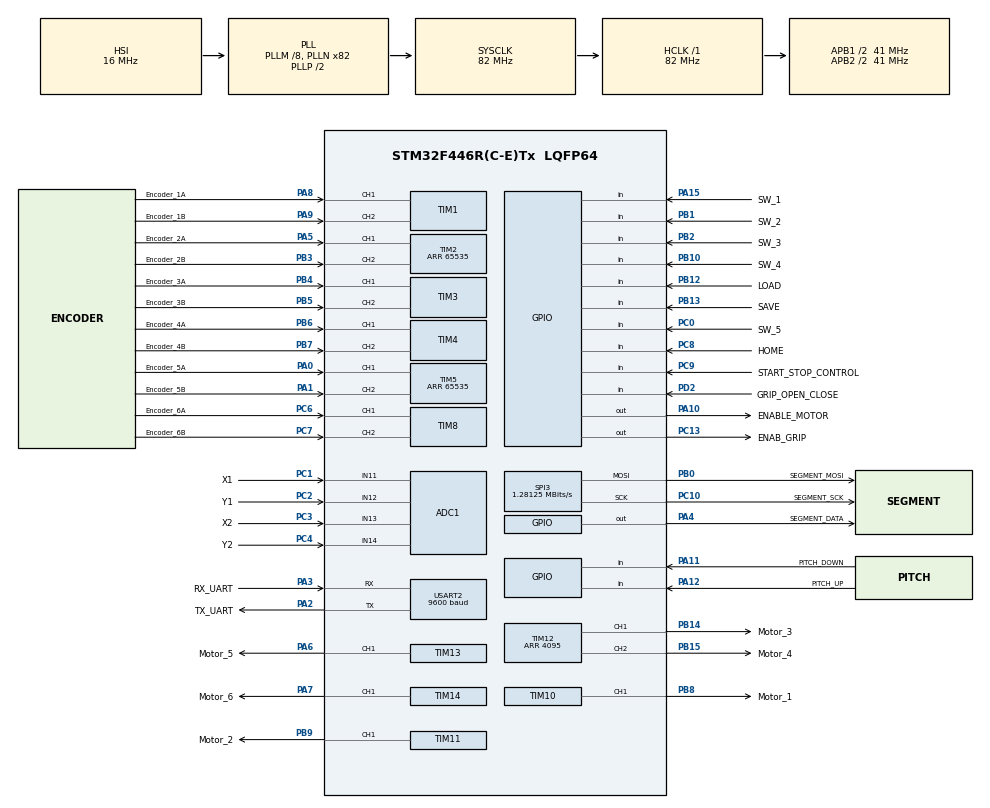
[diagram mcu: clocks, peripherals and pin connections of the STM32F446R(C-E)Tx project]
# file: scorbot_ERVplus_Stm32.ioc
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ADC1.Channel-0\#ChannelRegularConversion=ADC_CHANNEL_11
ADC1.Channel-1\#ChannelRegularConversion=ADC_CHANNEL_12
ADC1.Channel-2\#ChannelRegularConversion=ADC_CHANNEL_14
ADC1.Channel-3\#ChannelRegularConversion=ADC_CHANNEL_13
ADC1.ContinuousConvMode=ENABLE
ADC1.DMAContinuousRequests=ENABLE
ADC1.NbrOfConversion=4
ADC1.NbrOfConversionFlag=1
ADC1.Rank-0\#ChannelRegularConversion=1
ADC1.Rank-1\#ChannelRegularConversion=2
ADC1.Rank-2\#ChannelRegularConversion=3
ADC1.Rank-3\#ChannelRegularConversion=4
ADC1.SamplingTime-0\#ChannelRegularConversion=ADC_SAMPLETIME_84CYCLES
ADC1.SamplingTime-1\#ChannelRegularConversion=ADC_SAMPLETIME_84CYCLES
ADC1.SamplingTime-2\#ChannelRegularConversion=ADC_SAMPLETIME_84CYCLES
ADC1.SamplingTime-3\#ChannelRegularConversion=ADC_SAMPLETIME_84CYCLES
ADC1.ScanConvMode=ENABLE
ADC1.master=1
Dma.ADC1.0.Direction=DMA_PERIPH_TO_MEMORY
Dma.ADC1.0.FIFOMode=DMA_FIFOMODE_DISABLE
Dma.ADC1.0.Instance=DMA2_Stream0
Dma.ADC1.0.MemDataAlignment=DMA_MDATAALIGN_WORD
Dma.ADC1.0.MemInc=DMA_MINC_ENABLE
Dma.ADC1.0.Mode=DMA_CIRCULAR
Dma.ADC1.0.PeriphDataAlignment=DMA_PDATAALIGN_WORD
Dma.ADC1.0.PeriphInc=DMA_PINC_DISABLE
Dma.ADC1.0.Priority=DMA_PRIORITY_LOW
Dma.Request0=ADC1
Dma.Request1=USART2_RX
Dma.Request2=USART2_TX
Dma.USART2_RX.1.Direction=DMA_PERIPH_TO_MEMORY
Dma.USART2_RX.1.FIFOMode=DMA_FIFOMODE_DISABLE
Dma.USART2_RX.1.Instance=DMA1_Stream5
Dma.USART2_RX.1.MemDataAlignment=DMA_MDATAALIGN_BYTE
Dma.USART2_RX.1.MemInc=DMA_MINC_ENABLE
Dma.USART2_RX.1.Mode=DMA_CIRCULAR
Dma.USART2_RX.1.PeriphDataAlignment=DMA_PDATAALIGN_BYTE
Dma.USART2_RX.1.PeriphInc=DMA_PINC_DISABLE
Dma.USART2_RX.1.Priority=DMA_PRIORITY_LOW
Dma.USART2_TX.2.Direction=DMA_MEMORY_TO_PERIPH
Dma.USART2_TX.2.FIFOMode=DMA_FIFOMODE_DISABLE
Dma.USART2_TX.2.Instance=DMA1_Stream6
Dma.USART2_TX.2.MemDataAlignment=DMA_MDATAALIGN_BYTE
Dma.USART2_TX.2.MemInc=DMA_MINC_ENABLE
Dma.USART2_TX.2.Mode=DMA_NORMAL
Dma.USART2_TX.2.PeriphDataAlignment=DMA_PDATAALIGN_BYTE
Dma.USART2_TX.2.PeriphInc=DMA_PINC_DISABLE
Dma.USART2_TX.2.Priority=DMA_PRIORITY_LOW
Mcu.Family=STM32F4
Mcu.Name=STM32F446R(C-E)Tx
Mcu.Package=LQFP64
NVIC.DMA1_Stream5_IRQn=true\:0\:0\:false\:false\:true\:false\:true
NVIC.DMA1_Stream6_IRQn=true\:0\:0\:false\:false\:true\:false\:true
NVIC.DMA2_Stream0_IRQn=true\:0\:0\:false\:false\:true\:false\:true
NVIC.PriorityGroup=NVIC_PRIORITYGROUP_0
NVIC.USART2_IRQn=true\:0\:0\:false\:false\:true\:true\:true
PA0-WKUP.GPIO_Label=Encoder_5A
PA0-WKUP.GPIO_PuPd=GPIO_PULLDOWN
PA0-WKUP.Signal=S_TIM5_CH1
PA1.GPIO_Label=Encoder_5B
PA1.GPIO_PuPd=GPIO_PULLDOWN
PA1.Signal=S_TIM5_CH2
PA10.GPIO_Label=ENABLE_MOTOR
PA10.GPIO_ModeDefaultOutputPP=GPIO_MODE_OUTPUT_PP
PA10.GPIO_PuPd=GPIO_PULLUP
PA10.Signal=GPIO_Output
PA11.GPIO_Label=PITCH_DOWN
PA11.GPIO_PuPd=GPIO_PULLDOWN
PA11.Signal=GPIO_Input
PA12.GPIO_Label=PITCH_UP
PA12.GPIO_PuPd=GPIO_PULLDOWN
PA12.Signal=GPIO_Input
PA13.GPIO_Label=SWDIO
PA13.Mode=Serial_Wire
PA13.Signal=SYS_JTMS-SWDIO
PA14.GPIO_Label=SWCLK
PA14.Mode=Serial_Wire
PA14.Signal=SYS_JTCK-SWCLK
PA15.GPIO_Label=SW_1
PA15.GPIO_PuPd=GPIO_PULLUP
PA15.Signal=GPIO_Input
PA2.GPIO_Label=TX_UART
PA2.Mode=Asynchronous
PA2.Signal=USART2_TX
PA3.GPIO_Label=RX_UART
PA3.Mode=Asynchronous
PA3.Signal=USART2_RX
PA4.GPIO_Label=SEGMENT_DATA
PA4.Signal=GPIO_Output
PA5.GPIO_Label=Encoder_2A
PA5.GPIO_PuPd=GPIO_PULLDOWN
PA5.Signal=S_TIM2_CH1_ETR
PA6.GPIO_Label=Motor_5
PA6.Signal=S_TIM13_CH1
PA7.GPIO_Label=Motor_6
PA7.Signal=S_TIM14_CH1
PA8.GPIO_Label=Encoder_1A
PA8.GPIO_PuPd=GPIO_PULLDOWN
PA8.Signal=S_TIM1_CH1
PA9.GPIO_Label=Encoder_1B
PA9.GPIO_PuPd=GPIO_PULLDOWN
PA9.Signal=S_TIM1_CH2
PB0.GPIO_Label=SEGMENT_MOSI
PB0.Mode=TX_Only_Simplex_Unidirect_Master
PB0.Signal=SPI3_MOSI
PB1.GPIO_Label=SW_2
PB1.GPIO_PuPd=GPIO_PULLUP
PB1.Signal=GPIO_Input
PB10.GPIO_Label=SW_4
PB10.GPIO_PuPd=GPIO_PULLUP
PB10.Signal=GPIO_Input
PB12.GPIO_Label=LOAD
PB12.GPIO_PuPd=GPIO_PULLDOWN
PB12.Signal=GPIO_Input
PB13.GPIO_Label=SAVE
PB13.GPIO_PuPd=GPIO_PULLDOWN
PB13.Signal=GPIO_Input
PB14.GPIO_Label=Motor_3
PB14.Signal=S_TIM12_CH1
PB15.GPIO_Label=Motor_4
PB15.Signal=S_TIM12_CH2
PB2.GPIO_Label=SW_3
PB2.GPIO_PuPd=GPIO_PULLUP
PB2.Signal=GPIO_Input
PB3.GPIO_Label=Encoder_2B
PB3.GPIO_PuPd=GPIO_PULLDOWN
PB3.Signal=S_TIM2_CH2
PB4.GPIO_Label=Encoder_3A
PB4.GPIO_PuPd=GPIO_PULLDOWN
PB4.Signal=S_TIM3_CH1
PB5.GPIO_Label=Encoder_3B
PB5.GPIO_PuPd=GPIO_PULLDOWN
PB5.Signal=S_TIM3_CH2
PB6.GPIO_Label=Encoder_4A
PB6.GPIO_PuPd=GPIO_PULLDOWN
PB6.Signal=S_TIM4_CH1
PB7.GPIO_Label=Encoder_4B
PB7.GPIO_PuPd=GPIO_PULLDOWN
PB7.Signal=S_TIM4_CH2
PB8.GPIO_Label=Motor_1
PB8.Signal=S_TIM10_CH1
PB9.GPIO_Label=Motor_2
PB9.Signal=S_TIM11_CH1
PC0.GPIO_Label=SW_5
PC0.GPIO_PuPd=GPIO_PULLUP
PC0.Signal=GPIO_Input
PC1.GPIO_Label=X1
PC1.Signal=ADCx_IN11
PC10.GPIO_Label=SEGMENT_SCK
PC10.Mode=TX_Only_Simplex_Unidirect_Master
PC10.Signal=SPI3_SCK
PC13.GPIO_Label=ENAB_GRIP
PC13.GPIO_PuPd=GPIO_PULLUP
PC13.Signal=GPIO_Output
PC14-OSC32_IN.Mode=LSE-External-Oscillator
PC14-OSC32_IN.Signal=RCC_OSC32_IN
PC15-OSC32_OUT.Mode=LSE-External-Oscillator
PC15-OSC32_OUT.Signal=RCC_OSC32_OUT
PC2.GPIO_Label=Y1
PC2.Signal=ADCx_IN12
PC3.GPIO_Label=X2
PC3.Signal=ADCx_IN13
PC4.GPIO_Label=Y2
PC4.Signal=ADCx_IN14
PC6.GPIO_Label=Encoder_6A
PC6.Signal=S_TIM8_CH1
PC7.GPIO_Label=Encoder_6B
PC7.Signal=S_TIM8_CH2
PC8.GPIO_Label=HOME
PC8.GPIO_PuPd=GPIO_PULLDOWN
PC8.Signal=GPIO_Input
PC9.GPIO_Label=START_STOP_CONTROL
PC9.GPIO_PuPd=GPIO_PULLDOWN
PC9.Signal=GPIO_Input
PD2.GPIO_Label=GRIP_OPEN_CLOSE
PD2.GPIO_PuPd=GPIO_PULLDOWN
PD2.Signal=GPIO_Input
PH0-OSC_IN.Mode=HSE-External-Oscillator
PH0-OSC_IN.Signal=RCC_OSC_IN
PH1-OSC_OUT.Mode=HSE-External-Oscillator
PH1-OSC_OUT.Signal=RCC_OSC_OUT
ProjectManager.HeapSize=0x200
ProjectManager.StackSize=0x400
ProjectManager.TargetToolchain=STM32CubeIDE
RCC.48MHZClocksFreq_Value=84000000
RCC.AHBFreq_Value=82000000
RCC.APB1CLKDivider=RCC_HCLK_DIV2
RCC.APB1Freq_Value=41000000
RCC.APB1TimFreq_Value=82000000
RCC.APB2CLKDivider=RCC_HCLK_DIV2
RCC.APB2Freq_Value=41000000
RCC.APB2TimFreq_Value=82000000
RCC.CortexFreq_Value=82000000
RCC.FLatency-AdvancedSettings=FLASH_LATENCY_2
RCC.HCLKFreq_Value=82000000
RCC.HSE_VALUE=8000000
RCC.HSI_VALUE=16000000
RCC.PLLM=8
RCC.PLLN=82
RCC.SYSCLKFreq_VALUE=82000000
RCC.SYSCLKSource=RCC_SYSCLKSOURCE_PLLCLK
RCC.USBFreq_Value=82000000
RCC.VCOOutputFreq_Value=164000000
SH.ADCx_IN11.0=ADC1_IN11,IN11
SH.ADCx_IN12.0=ADC1_IN12,IN12
SH.ADCx_IN13.0=ADC1_IN13,IN13
SH.ADCx_IN14.0=ADC1_IN14,IN14
SH.S_TIM10_CH1.0=TIM10_CH1,PWM Generation1 CH1
SH.S_TIM11_CH1.0=TIM11_CH1,PWM Generation1 CH1
SH.S_TIM12_CH1.0=TIM12_CH1,PWM Generation1 CH1
SH.S_TIM12_CH2.0=TIM12_CH2,PWM Generation2 CH2
SH.S_TIM13_CH1.0=TIM13_CH1,PWM Generation1 CH1
SH.S_TIM14_CH1.0=TIM14_CH1,PWM Generation1 CH1
SH.S_TIM1_CH1.0=TIM1_CH1,Encoder_Interface
SH.S_TIM1_CH2.0=TIM1_CH2,Encoder_Interface
SH.S_TIM2_CH1_ETR.0=TIM2_CH1,Encoder_Interface
SH.S_TIM2_CH2.0=TIM2_CH2,Encoder_Interface
SH.S_TIM3_CH1.0=TIM3_CH1,Encoder_Interface
SH.S_TIM3_CH2.0=TIM3_CH2,Encoder_Interface
SH.S_TIM4_CH1.0=TIM4_CH1,Encoder_Interface
SH.S_TIM4_CH2.0=TIM4_CH2,Encoder_Interface
SH.S_TIM5_CH1.0=TIM5_CH1,Encoder_Interface
SH.S_TIM5_CH2.0=TIM5_CH2,Encoder_Interface
SH.S_TIM8_CH1.0=TIM8_CH1,Encoder_Interface
SH.S_TIM8_CH2.0=TIM8_CH2,Encoder_Interface
SPI3.BaudRatePrescaler=SPI_BAUDRATEPRESCALER_32
SPI3.CalculateBaudRate=1.28125 MBits/s
SPI3.DataSize=SPI_DATASIZE_8BIT
SPI3.Direction=SPI_DIRECTION_2LINES
SPI3.Mode=SPI_MODE_MASTER
SPI3.VirtualType=VM_MASTER
TIM1.EncoderMode=TIM_ENCODERMODE_TI12
TIM1.IC1Filter=10
TIM1.IC2Filter=10
TIM10.Channel=TIM_CHANNEL_1
TIM10.Period=4095
TIM10.Pulse=2047
TIM11.Channel=TIM_CHANNEL_1
TIM11.Period=4095
TIM11.Pulse=2047
TIM12.Channel-PWM\ Generation1\ CH1=TIM_CHANNEL_1
TIM12.Channel-PWM\ Generation2\ CH2=TIM_CHANNEL_2
TIM12.Period=4095
TIM12.Pulse-PWM\ Generation1\ CH1=2047
TIM12.Pulse-PWM\ Generation2\ CH2=2047
TIM13.Channel=TIM_CHANNEL_1
TIM13.Period=4095
TIM13.Pulse=2047
TIM14.Channel=TIM_CHANNEL_1
TIM14.Period=4095
TIM14.Pulse=2047
TIM2.EncoderMode=TIM_ENCODERMODE_TI12
TIM2.IC1Filter=10
TIM2.IC2Filter=10
TIM2.Period=65535
TIM3.EncoderMode=TIM_ENCODERMODE_TI12
TIM3.IC1Filter=10
TIM3.IC2Filter=10
TIM4.EncoderMode=TIM_ENCODERMODE_TI12
TIM4.IC1Filter=10
TIM4.IC2Filter=10
TIM5.EncoderMode=TIM_ENCODERMODE_TI12
TIM5.IC1Filter=10
TIM5.IC2Filter=10
TIM5.Period=65535
TIM8.EncoderMode=TIM_ENCODERMODE_TI12
TIM8.IC1Filter=10
TIM8.IC2Filter=10
USART2.BaudRate=9600
USART2.VirtualMode=VM_ASYNC
VP_TIM10_VS_ClockSourceINT.Mode=Enable_Timer
VP_TIM11_VS_ClockSourceINT.Mode=Enable_Timer
VP_TIM13_VS_ClockSourceINT.Mode=Enable_Timer
VP_TIM14_VS_ClockSourceINT.Mode=Enable_Timer
board=NUCLEO-F446RE

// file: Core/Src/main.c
/* USER CODE BEGIN Header */
/**
 ******************************************************************************
 * @file           : main.c
 * @brief          : Main program body
 ******************************************************************************
 * @attention
 *
 * <h2><center>&copy; Copyright (c) 2021 STMicroelectronics.
 * All rights reserved.</center></h2>
 *
 * This software component is licensed by ST under BSD 3-Clause license,
 * the "License"; You may not use this file except in compliance with the
 * License. You may obtain a copy of the License at:
 *                        opensource.org/licenses/BSD-3-Clause
 *
 ******************************************************************************
 */
/* USER CODE END Header */
#include "main.h"

/* USER CODE BEGIN PTD */
#ifdef __GNUC__
/* With GCC, small printf (option LD Linker->Libraries->Small printf
 set to 'Yes') calls __io_putchar() */
#define PUTCHAR_PROTOTYPE int __io_putchar(int ch)
#define GETCHAR_PROTOTYPE int __io_getchar(void)
#else
  #define PUTCHAR_PROTOTYPE int fputc(int ch, FILE *f)
  #define GETCHAR_PROTOTYPE int fgetc(FILE *stream)
#endif /* __GNUC__ */
/* USER CODE END PTD */

/* USER CODE BEGIN PD */

// Buffer Maximum Size
#define MAX_BUFF 32

// Reference position counter value
#define HOME_CNT 32767
#define RXBUFSIZE 64
#define STR_SIZE 7
#define BUFF_SIZE 16
#define N_STRING 10
#define NUM 5
#define N_ORDERS 14
#define STR_SIZE 7
#define MIN_DUTY 0
#define HALF_DUTY 2047
#define MAX_DUTY 4095
#define SECTOR3_ADDR 0x0800C000
#define MEMBUFF 500
/* USER CODE END PD */

ADC_HandleTypeDef hadc1;
DMA_HandleTypeDef hdma_adc1;

SPI_HandleTypeDef hspi3;

TIM_HandleTypeDef htim1;
TIM_HandleTypeDef htim2;
TIM_HandleTypeDef htim3;
TIM_HandleTypeDef htim4;
TIM_HandleTypeDef htim5;
TIM_HandleTypeDef htim8;
TIM_HandleTypeDef htim10;
TIM_HandleTypeDef htim11;
TIM_HandleTypeDef htim12;
TIM_HandleTypeDef htim13;
TIM_HandleTypeDef htim14;

UART_HandleTypeDef huart2;
DMA_HandleTypeDef hdma_usart2_rx;
DMA_HandleTypeDef hdma_usart2_tx;

/* USER CODE BEGIN PV */

char orders[N_ORDERS][STR_SIZE] = { "AT+MOVE", "AT+VELO", "AT+LOAD", "AT+SAVE",
		"AT+LIST", "AT+CLRM", "AT+RSET", "AT+CNTL", "AT+ENCO", "AT+HOME",
		"AT+OPEN", "AT+CLSE", "AT+STRT", "AT+STOP" };

char split[N_STRING][BUFF_SIZE], message[RXBUFSIZE];
int orderNums[7];
long int error[6], offset[6] = { 0, 0, 0, 0, 0, 0 };
uint8_t rxFilled = 0, rxCnt = 0, rxBufPos = 0, gripStatus = 0, N, dmax,
		rxBuf[RXBUFSIZE], stage[4], homeON = 128, mode = 0;
uint16_t start, len, aux;
uint32_t sameEnc, temp, cnt, x, y, moveVars[4], enco[6], velo[10],
		encoActual[6], position[6] = {
		HOME_CNT, HOME_CNT, HOME_CNT, HOME_CNT, HOME_CNT, HOME_CNT },
		homeStage_0[4] = { 65000, 15000, 40000, 40000 }, homeStage_1[4] = {
				5000, 35000, 10000, 20000 }, initSw[5], finSw[5], encTime[4] = {
				200000, 50000, 120000, 150000 };
float32_t pwm[6];

extern uint8_t cancelWord[4];
extern uint8_t cleanWord[4]; // ____
extern uint8_t cntlWord[4]; // cntL
extern uint8_t doneWord[4]; // donE
extern uint8_t homeWord[4];	// Hone
extern uint8_t loadWord[4];	// LoAd
extern uint8_t saveWord[4];	// SAvE
extern uint8_t startWord[4]; // Strt
extern uint8_t stopWord[4]; // stoP
extern uint8_t zeroWord[4]; // Digit 0
/* USER CODE END PV */

void SystemClock_Config(void);
static void MX_GPIO_Init(void);
static void MX_DMA_Init(void);
static void MX_USART2_UART_Init(void);
static void MX_TIM1_Init(void);
static void MX_TIM2_Init(void);
static void MX_TIM3_Init(void);
static void MX_TIM4_Init(void);
static void MX_TIM5_Init(void);
static void MX_TIM8_Init(void);
static void MX_TIM10_Init(void);
static void MX_TIM11_Init(void);
static void MX_TIM12_Init(void);
static void MX_TIM13_Init(void);
static void MX_TIM14_Init(void);
static void MX_ADC1_Init(void);
static void MX_SPI3_Init(void);

/* USER CODE BEGIN 0 */
void HAL_UART_RxCpltCallback(UART_HandleTypeDef *huart);
void HAL_UART_TxCpltCallback(UART_HandleTypeDef *huart);
/* USER CODE END 0 */

int main(void) {

	/* MCU Configuration--------------------------------------------------------*/

	/* Reset of all peripherals, Initializes the Flash interface and the Systick. */
	HAL_Init();

	/* Configure the system clock */
	SystemClock_Config();

	/* Initialize all configured peripherals */
	MX_GPIO_Init();
	MX_DMA_Init();
	MX_USART2_UART_Init();
	MX_TIM1_Init();
	MX_TIM2_Init();
	MX_TIM3_Init();
	MX_TIM4_Init();
	MX_TIM5_Init();
	MX_TIM8_Init();
	MX_TIM10_Init();
	MX_TIM11_Init();
	MX_TIM12_Init();
	MX_TIM13_Init();
	MX_TIM14_Init();
	MX_ADC1_Init();
	MX_SPI3_Init();
	/* USER CODE BEGIN 2 */

	// Start Timers
	HAL_TIM_Encoder_Start(&htim1, TIM_CHANNEL_ALL);	// Encoder 1
	HAL_TIM_Encoder_Start(&htim2, TIM_CHANNEL_ALL);	// Encoder 2
	HAL_TIM_Encoder_Start(&htim3, TIM_CHANNEL_ALL);	// Encoder 3
	HAL_TIM_Encoder_Start(&htim4, TIM_CHANNEL_ALL);	// Encoder 4
	HAL_TIM_Encoder_Start(&htim5, TIM_CHANNEL_ALL);	// Encoder 5
	HAL_TIM_Encoder_Start(&htim8, TIM_CHANNEL_ALL);	// Encoder 6
	HAL_TIM_PWM_Start(&htim10, TIM_CHANNEL_1);		// Motor 1
	HAL_TIM_PWM_Start(&htim11, TIM_CHANNEL_1);		// Motor 2
	HAL_TIM_PWM_Start(&htim12, TIM_CHANNEL_1);		// Motor 3
	HAL_TIM_PWM_Start(&htim12, TIM_CHANNEL_2);		// Motor 4
	HAL_TIM_PWM_Start(&htim13, TIM_CHANNEL_1);		// Motor 5
	HAL_TIM_PWM_Start(&htim14, TIM_CHANNEL_1);		// Motor 6

	// Start ADC
	HAL_ADC_Start_DMA(&hadc1, moveVars, sizeof(moveVars) >> 2);

	// Start UART2
	__HAL_UART_ENABLE_IT(&huart2, UART_IT_IDLE);
	HAL_UART_Receive_DMA(&huart2, rxBuf, RXBUFSIZE);

	// Initialize Led Driver
	initMatrix();
	sendWord(cleanWord);
	// Initialize PIDs
	// Base
	arm_pid_instance_f32 PID0;
	PID0.Kp = 8;			//PID_PARAM_KP;
	PID0.Ki = 0;			//PID_PARAM_KI;
	PID0.Kd = 0.5;			//PID_PARAM_KD;
	arm_pid_init_f32(&PID0, 1);

	// Shoulder
	arm_pid_instance_f32 PID1;
	PID1.Kp = 32.27;			//PID_PARAM_KP;
	PID1.Ki = 0;			//PID_PARAM_KI;
	PID1.Kd = 1;			//PID_PARAM_KD;
	arm_pid_init_f32(&PID1, 1);

	// Elbow
	arm_pid_instance_f32 PID2;
	PID2.Kp = 14;			//PID_PARAM_KP;
	PID2.Ki = 0;			//PID_PARAM_KI;
	PID2.Kd = 0.5;			//PID_PARAM_KD;
	arm_pid_init_f32(&PID2, 1);

	// Wrist
	arm_pid_instance_f32 PID3;
	PID3.Kp = 20;			//PID_PARAM_KP;
	PID3.Ki = 0;			//PID_PARAM_KI;
	PID3.Kd = 0;			//PID_PARAM_KD;
	arm_pid_init_f32(&PID3, 1);

	// Grip
	arm_pid_instance_f32 PID4;
	PID4.Kp = 4.75;			//PID_PARAM_KP;
	PID4.Ki = 0;			//PID_PARAM_KI;
	PID4.Kd = 0;			//PID_PARAM_KD;
	arm_pid_init_f32(&PID4, 1);

	// PID's Array
	arm_pid_instance_f32 PIDs[6] = { PID0, PID1, PID2, PID3, PID3, PID4 };

	// Switches Array
	GPIO_TypeDef *gpios[5] = { GPIOA, GPIOB, GPIOB, GPIOB, GPIOC };
	uint16_t gpioPorts[5] = { GPIO_PIN_15, GPIO_PIN_1, GPIO_PIN_2, GPIO_PIN_10,
	GPIO_PIN_0 };

	// Encoder Timers Array
	TIM_HandleTypeDef encoTimers[6] =
			{ htim1, htim2, htim3, htim4, htim5, htim8 };
	TIM_HandleTypeDef pwmTimers[6] = { htim10, htim11, htim12, htim12, htim13,
			htim14 };

	// Set Initial Encoder Counters Value
	for (uint8_t i = 0; i < 6; i++)
		encoTimers[i].Instance->CNT = HOME_CNT;

	// Activate All L298 Modules
	HAL_GPIO_WritePin(GPIOA, GPIO_PIN_10, GPIO_PIN_SET);

	printf("%s\r\n", "                                                    ");
	printf("%s\r\n", "------- Welcome To Scorbot ER Vplus Terminal -------");
	printf("%s\r\n", "____________________________________________________");
	printf("%s\r\n", "Warning!!! AT+HOME order execution is recommended");
	setSpeed(velo, 65);
	TIM14->CCR1 = HALF_DUTY;
	HAL_GPIO_WritePin(GPIOC, GPIO_PIN_13, GPIO_PIN_RESET);
	/* USER CODE END 2 */

	/* Infinite loop */
	/* USER CODE BEGIN WHILE */

	while (1) {

		/*
		 * Terminal Mode
		 */
		while (mode % 2 == 0) {
			//Position Control
			getPwm(PIDs);
			if (homeON == 0)
				break;
		}

		/*
		 * Gamepad Mode
		 */
		while (mode % 2 != 0) {
			//setSpeed(velo, 65);
			// Position Control
			getPwm(PIDs);
			// Adjust Duty Cycle
			for (int i = 0; i < 5; i++) {
				if (i < 3) {
					if (joyInRange(moveVars[i]) == 1) {
						pwm[i] = moveVars[i];
						pwmTimers[i].Instance->CCR1 = moveVars[i];
						position[i] = enco[i];
					}
				} else {
					if (joyInRange(moveVars[3]) == 1) {
						pwm[3] = moveVars[3];
						pwm[4] = moveVars[4];
						pwmTimers[3].Instance->CCR2 = moveVars[3];
						pwmTimers[4].Instance->CCR1 = 4095 - moveVars[3];
						position[i] = enco[i];
					}
				}
				enco[i] = encoTimers[i].Instance->CNT;
			}
			// Open - Close Grip
			if (HAL_GPIO_ReadPin(GPIOD, GPIO_PIN_2)) {
				gripStatus++;
				if (gripStatus > 127)
					gripStatus = 0;
				if (gripStatus % 2 == 0)
					closeGrip(&htim14, GPIOC, GPIO_PIN_13);
				else
					openGrip(&htim14, GPIOC, GPIO_PIN_13);
			}

			//If Home Button Is Pressed, Jump To Home Label
			if (HAL_GPIO_ReadPin(GPIOC, GPIO_PIN_8)) {
				homeON = 0;
				sendWord(homeWord);
				HAL_Delay(1000);
				sendWord(cleanWord);
				break;
			}

			//Pitch Up
			while (HAL_GPIO_ReadPin(GPIOA, GPIO_PIN_11)) {
				TIM12->CCR2 = 3072;
				TIM13->CCR1 = 3072;
				enco[3] = htim4.Instance->CNT;
				enco[4] = htim5.Instance->CNT;
				position[3] = htim4.Instance->CNT;
				position[4] = htim5.Instance->CNT;
			}

			//Pitch Down
			while (HAL_GPIO_ReadPin(GPIOA, GPIO_PIN_12)) {
				TIM12->CCR2 = 1024;
				TIM13->CCR1 = 1024;
				enco[3] = htim4.Instance->CNT;
				enco[4] = htim5.Instance->CNT;
				position[3] = htim4.Instance->CNT;
				position[4] = htim5.Instance->CNT;
			}

			// Start, Stop & Control Mode
			if (HAL_GPIO_ReadPin(GPIOC, GPIO_PIN_9)) {
				cnt = 0;
				while (HAL_GPIO_ReadPin(GPIOC, GPIO_PIN_9) && cnt < 1800000)
					cnt++;
				if (cnt >= 1200000) {
					x++;
					mode = controlMode(mode);
					sendWord(cntlWord);
					HAL_Delay(1000);
					sendWord(cleanWord);
				} else if (cnt < 1200000) {
					y++;
					if (y % 2 == 0) {
						for (uint8_t i = 0; i < 5; i++) {
							enco[i] = encoTimers[i].Instance->CNT;
							position[i] = enco[i];
						}
						startRobot(GPIOA, GPIO_PIN_10);
						sendWord(startWord);
						HAL_Delay(1000);
						sendWord(cleanWord);
					} else if (y % 2 != 0) {
						stopRobot(GPIOA, GPIO_PIN_10);
						sendWord(stopWord);
					}
				}
				if (x > 250)
					x = 0;
				if (y > 250)
					y = 0;
				HAL_Delay(500);
			}

			// Save Position
			if (HAL_GPIO_ReadPin(GPIOB, GPIO_PIN_13)) {
				saveMenu(position);
			}

			// Load Position
			if (HAL_GPIO_ReadPin(GPIOB, GPIO_PIN_12)) {
				loadMenu(position);
			}
		}

		// Home
		if (homeON == 0) {
			printf("%s\r\n", "HOMING...");
			preHome();
			setSpeed(velo, 65);
			for (uint8_t j = 0; j < 4; j++) {
				resetPositions(enco, position, encoTimers);
				HAL_Delay(10);
				stage[j] = 0;
				position[j] = homeStage_0[j];
				if (j == 3) {
					position[3] = 37000;
					position[4] = 37000;
				}
				sameEnc = 0;
				while (1) {
					for (uint8_t i = 0; i < 5; i++) {
						enco[i] = encoTimers[i].Instance->CNT;
						error[i] = enco[i] - position[i] + offset[i];
						pwm[i] = arm_pid_f32(&PIDs[i], error[i]);
						pwm[i] += HALF_DUTY;
						if (pwm[i] > velo[i]) {
							pwm[i] = velo[i];
						} else if (pwm[i] < velo[i + 5]) {
							pwm[i] = velo[i + 5];
						}
						if (i == 3)
							pwmTimers[i].Instance->CCR2 = pwm[i];
						else
							pwmTimers[i].Instance->CCR1 = pwm[i];
						encoActual[i] = encoTimers[i].Instance->CNT;
					}
					if (encoActual[j] == enco[j])
						sameEnc++;

					if (sameEnc > encTime[j] && stage[j] == 0) {
						HAL_Delay(10);
						position[j] = homeStage_1[j];
						if (j == 3) {
							position[3] = 23000;
							position[4] = 23000;
						}
						stage[j]++;
					} else if (!HAL_GPIO_ReadPin(gpios[j], gpioPorts[j])
							&& stage[j] == 1) {
						initSw[j] = encoTimers[j].Instance->CNT;
						HAL_Delay(10);
						while (!HAL_GPIO_ReadPin(gpios[j], gpioPorts[j])) {
							finSw[j] = encoTimers[j].Instance->CNT;
						}
						HAL_Delay(10);
						position[j] = initSw[j] + finSw[j];
						position[j] = position[j] >> 1;
						if (j == 3) {
							temp = position[3];
							position[3] = temp + 320;
							position[4] = temp - 320;
						}
						HAL_Delay(10);
						stage[j]++;
						sameEnc = 0;
					}
					if (sameEnc > 30000 && stage[j] == 2) {
						HAL_Delay(10);
						break;
					}
				}
			}
			openGrip(&htim14, GPIOC, GPIO_PIN_13);
			HAL_Delay(3000);
			closeGrip(&htim14, GPIOC, GPIO_PIN_13);
			printf("%s\r\n", "HOMING PROCESS FINISHED SUCCESSFULLY!!!");
			resetPositions(enco, position, encoTimers);
			if (mode % 2 != 0) {
				sendWord(doneWord);
				HAL_Delay(1000);
				sendWord(cleanWord);
			}
			homeON++;
		}
	}
	/* USER CODE END 3 */
}

void SystemClock_Config(void) {
	RCC_OscInitTypeDef RCC_OscInitStruct = { 0 };
	RCC_ClkInitTypeDef RCC_ClkInitStruct = { 0 };

	/** Configure the main internal regulator output voltage
	 */
	__HAL_RCC_PWR_CLK_ENABLE();
	__HAL_PWR_VOLTAGESCALING_CONFIG(PWR_REGULATOR_VOLTAGE_SCALE3);
	/** Initializes the RCC Oscillators according to the specified parameters
	 * in the RCC_OscInitTypeDef structure.
	 */
	RCC_OscInitStruct.OscillatorType = RCC_OSCILLATORTYPE_HSI;
	RCC_OscInitStruct.HSIState = RCC_HSI_ON;
	RCC_OscInitStruct.HSICalibrationValue = RCC_HSICALIBRATION_DEFAULT;
	RCC_OscInitStruct.PLL.PLLState = RCC_PLL_ON;
	RCC_OscInitStruct.PLL.PLLSource = RCC_PLLSOURCE_HSI;
	RCC_OscInitStruct.PLL.PLLM = 8;
	RCC_OscInitStruct.PLL.PLLN = 82;
	RCC_OscInitStruct.PLL.PLLP = RCC_PLLP_DIV2;
	RCC_OscInitStruct.PLL.PLLQ = 2;
	RCC_OscInitStruct.PLL.PLLR = 2;
	if (HAL_RCC_OscConfig(&RCC_OscInitStruct) != HAL_OK) {
		Error_Handler();
	}
	/** Initializes the CPU, AHB and APB buses clocks
	 */
	RCC_ClkInitStruct.ClockType = RCC_CLOCKTYPE_HCLK | RCC_CLOCKTYPE_SYSCLK
			| RCC_CLOCKTYPE_PCLK1 | RCC_CLOCKTYPE_PCLK2;
	RCC_ClkInitStruct.SYSCLKSource = RCC_SYSCLKSOURCE_PLLCLK;
	RCC_ClkInitStruct.AHBCLKDivider = RCC_SYSCLK_DIV1;
	RCC_ClkInitStruct.APB1CLKDivider = RCC_HCLK_DIV2;
	RCC_ClkInitStruct.APB2CLKDivider = RCC_HCLK_DIV2;

	if (HAL_RCC_ClockConfig(&RCC_ClkInitStruct, FLASH_LATENCY_2) != HAL_OK) {
		Error_Handler();
	}
}

static void MX_ADC1_Init(void) {

	ADC_ChannelConfTypeDef sConfig = { 0 };

	/** Configure the global features of the ADC (Clock, Resolution, Data Alignment and number of conversion)
	 */
	hadc1.Instance = ADC1;
	hadc1.Init.ClockPrescaler = ADC_CLOCK_SYNC_PCLK_DIV2;
	hadc1.Init.Resolution = ADC_RESOLUTION_12B;
	hadc1.Init.ScanConvMode = ENABLE;
	hadc1.Init.ContinuousConvMode = ENABLE;
	hadc1.Init.DiscontinuousConvMode = DISABLE;
	hadc1.Init.ExternalTrigConvEdge = ADC_EXTERNALTRIGCONVEDGE_NONE;
	hadc1.Init.ExternalTrigConv = ADC_SOFTWARE_START;
	hadc1.Init.DataAlign = ADC_DATAALIGN_RIGHT;
	hadc1.Init.NbrOfConversion = 4;
	hadc1.Init.DMAContinuousRequests = ENABLE;
	hadc1.Init.EOCSelection = ADC_EOC_SINGLE_CONV;
	if (HAL_ADC_Init(&hadc1) != HAL_OK) {
		Error_Handler();
	}
	/** Configure for the selected ADC regular channel its corresponding rank in the sequencer and its sample time.
	 */
	sConfig.Channel = ADC_CHANNEL_11;
	sConfig.Rank = 1;
	sConfig.SamplingTime = ADC_SAMPLETIME_84CYCLES;
	if (HAL_ADC_ConfigChannel(&hadc1, &sConfig) != HAL_OK) {
		Error_Handler();
	}
	/** Configure for the selected ADC regular channel its corresponding rank in the sequencer and its sample time.
	 */
	sConfig.Channel = ADC_CHANNEL_12;
	sConfig.Rank = 2;
	if (HAL_ADC_ConfigChannel(&hadc1, &sConfig) != HAL_OK) {
		Error_Handler();
	}
	/** Configure for the selected ADC regular channel its corresponding rank in the sequencer and its sample time.
	 */
	sConfig.Channel = ADC_CHANNEL_14;
	sConfig.Rank = 3;
	if (HAL_ADC_ConfigChannel(&hadc1, &sConfig) != HAL_OK) {
		Error_Handler();
	}
	/** Configure for the selected ADC regular channel its corresponding rank in the sequencer and its sample time.
	 */
	sConfig.Channel = ADC_CHANNEL_13;
	sConfig.Rank = 4;
	if (HAL_ADC_ConfigChannel(&hadc1, &sConfig) != HAL_OK) {
		Error_Handler();
	}

}

static void MX_SPI3_Init(void) {

	/* SPI3 parameter configuration*/
	hspi3.Instance = SPI3;
	hspi3.Init.Mode = SPI_MODE_MASTER;
	hspi3.Init.Direction = SPI_DIRECTION_2LINES;
	hspi3.Init.DataSize = SPI_DATASIZE_8BIT;
	hspi3.Init.CLKPolarity = SPI_POLARITY_LOW;
	hspi3.Init.CLKPhase = SPI_PHASE_1EDGE;
	hspi3.Init.NSS = SPI_NSS_SOFT;
	hspi3.Init.BaudRatePrescaler = SPI_BAUDRATEPRESCALER_32;
	hspi3.Init.FirstBit = SPI_FIRSTBIT_MSB;
	hspi3.Init.TIMode = SPI_TIMODE_DISABLE;
	hspi3.Init.CRCCalculation = SPI_CRCCALCULATION_DISABLE;
	hspi3.Init.CRCPolynomial = 10;
	if (HAL_SPI_Init(&hspi3) != HAL_OK) {
		Error_Handler();
	}

}

static void MX_TIM1_Init(void) {

	TIM_Encoder_InitTypeDef sConfig = { 0 };
	TIM_MasterConfigTypeDef sMasterConfig = { 0 };

	htim1.Instance = TIM1;
	htim1.Init.Prescaler = 0;
	htim1.Init.CounterMode = TIM_COUNTERMODE_UP;
	htim1.Init.Period = 65535;
	htim1.Init.ClockDivision = TIM_CLOCKDIVISION_DIV1;
	htim1.Init.RepetitionCounter = 0;
	htim1.Init.AutoReloadPreload = TIM_AUTORELOAD_PRELOAD_DISABLE;
	sConfig.EncoderMode = TIM_ENCODERMODE_TI12;
	sConfig.IC1Polarity = TIM_ICPOLARITY_RISING;
	sConfig.IC1Selection = TIM_ICSELECTION_DIRECTTI;
	sConfig.IC1Prescaler = TIM_ICPSC_DIV1;
	sConfig.IC1Filter = 10;
	sConfig.IC2Polarity = TIM_ICPOLARITY_RISING;
	sConfig.IC2Selection = TIM_ICSELECTION_DIRECTTI;
	sConfig.IC2Prescaler = TIM_ICPSC_DIV1;
	sConfig.IC2Filter = 10;
	if (HAL_TIM_Encoder_Init(&htim1, &sConfig) != HAL_OK) {
		Error_Handler();
	}
	sMasterConfig.MasterOutputTrigger = TIM_TRGO_RESET;
	sMasterConfig.MasterSlaveMode = TIM_MASTERSLAVEMODE_DISABLE;
	if (HAL_TIMEx_MasterConfigSynchronization(&htim1, &sMasterConfig)
			!= HAL_OK) {
		Error_Handler();
	}

}

static void MX_TIM2_Init(void) {

	TIM_Encoder_InitTypeDef sConfig = { 0 };
	TIM_MasterConfigTypeDef sMasterConfig = { 0 };

	htim2.Instance = TIM2;
	htim2.Init.Prescaler = 0;
	htim2.Init.CounterMode = TIM_COUNTERMODE_UP;
	htim2.Init.Period = 65535;
	htim2.Init.ClockDivision = TIM_CLOCKDIVISION_DIV1;
	htim2.Init.AutoReloadPreload = TIM_AUTORELOAD_PRELOAD_DISABLE;
	sConfig.EncoderMode = TIM_ENCODERMODE_TI12;
	sConfig.IC1Polarity = TIM_ICPOLARITY_RISING;
	sConfig.IC1Selection = TIM_ICSELECTION_DIRECTTI;
	sConfig.IC1Prescaler = TIM_ICPSC_DIV1;
	sConfig.IC1Filter = 10;
	sConfig.IC2Polarity = TIM_ICPOLARITY_RISING;
	sConfig.IC2Selection = TIM_ICSELECTION_DIRECTTI;
	sConfig.IC2Prescaler = TIM_ICPSC_DIV1;
	sConfig.IC2Filter = 10;
	if (HAL_TIM_Encoder_Init(&htim2, &sConfig) != HAL_OK) {
		Error_Handler();
	}
	sMasterConfig.MasterOutputTrigger = TIM_TRGO_RESET;
	sMasterConfig.MasterSlaveMode = TIM_MASTERSLAVEMODE_DISABLE;
	if (HAL_TIMEx_MasterConfigSynchronization(&htim2, &sMasterConfig)
			!= HAL_OK) {
		Error_Handler();
	}

}

static void MX_TIM3_Init(void) {

	TIM_Encoder_InitTypeDef sConfig = { 0 };
	TIM_MasterConfigTypeDef sMasterConfig = { 0 };

	htim3.Instance = TIM3;
	htim3.Init.Prescaler = 0;
	htim3.Init.CounterMode = TIM_COUNTERMODE_UP;
	htim3.Init.Period = 65535;
	htim3.Init.ClockDivision = TIM_CLOCKDIVISION_DIV1;
	htim3.Init.AutoReloadPreload = TIM_AUTORELOAD_PRELOAD_DISABLE;
	sConfig.EncoderMode = TIM_ENCODERMODE_TI12;
	sConfig.IC1Polarity = TIM_ICPOLARITY_RISING;
	sConfig.IC1Selection = TIM_ICSELECTION_DIRECTTI;
	sConfig.IC1Prescaler = TIM_ICPSC_DIV1;
	sConfig.IC1Filter = 10;
	sConfig.IC2Polarity = TIM_ICPOLARITY_RISING;
	sConfig.IC2Selection = TIM_ICSELECTION_DIRECTTI;
	sConfig.IC2Prescaler = TIM_ICPSC_DIV1;
	sConfig.IC2Filter = 10;
	if (HAL_TIM_Encoder_Init(&htim3, &sConfig) != HAL_OK) {
		Error_Handler();
	}
	sMasterConfig.MasterOutputTrigger = TIM_TRGO_RESET;
	sMasterConfig.MasterSlaveMode = TIM_MASTERSLAVEMODE_DISABLE;
	if (HAL_TIMEx_MasterConfigSynchronization(&htim3, &sMasterConfig)
			!= HAL_OK) {
		Error_Handler();
	}

}

static void MX_TIM4_Init(void) {

	TIM_Encoder_InitTypeDef sConfig = { 0 };
	TIM_MasterConfigTypeDef sMasterConfig = { 0 };

	htim4.Instance = TIM4;
	htim4.Init.Prescaler = 0;
	htim4.Init.CounterMode = TIM_COUNTERMODE_UP;
	htim4.Init.Period = 65535;
	htim4.Init.ClockDivision = TIM_CLOCKDIVISION_DIV1;
	htim4.Init.AutoReloadPreload = TIM_AUTORELOAD_PRELOAD_DISABLE;
	sConfig.EncoderMode = TIM_ENCODERMODE_TI12;
	sConfig.IC1Polarity = TIM_ICPOLARITY_RISING;
	sConfig.IC1Selection = TIM_ICSELECTION_DIRECTTI;
	sConfig.IC1Prescaler = TIM_ICPSC_DIV1;
	sConfig.IC1Filter = 10;
	sConfig.IC2Polarity = TIM_ICPOLARITY_RISING;
	sConfig.IC2Selection = TIM_ICSELECTION_DIRECTTI;
	sConfig.IC2Prescaler = TIM_ICPSC_DIV1;
	sConfig.IC2Filter = 10;
	if (HAL_TIM_Encoder_Init(&htim4, &sConfig) != HAL_OK) {
		Error_Handler();
	}
	sMasterConfig.MasterOutputTrigger = TIM_TRGO_RESET;
	sMasterConfig.MasterSlaveMode = TIM_MASTERSLAVEMODE_DISABLE;
	if (HAL_TIMEx_MasterConfigSynchronization(&htim4, &sMasterConfig)
			!= HAL_OK) {
		Error_Handler();
	}

}

static void MX_TIM5_Init(void) {

	TIM_Encoder_InitTypeDef sConfig = { 0 };
	TIM_MasterConfigTypeDef sMasterConfig = { 0 };

	htim5.Instance = TIM5;
	htim5.Init.Prescaler = 0;
	htim5.Init.CounterMode = TIM_COUNTERMODE_UP;
	htim5.Init.Period = 65535;
	htim5.Init.ClockDivision = TIM_CLOCKDIVISION_DIV1;
	htim5.Init.AutoReloadPreload = TIM_AUTORELOAD_PRELOAD_DISABLE;
	sConfig.EncoderMode = TIM_ENCODERMODE_TI12;
	sConfig.IC1Polarity = TIM_ICPOLARITY_RISING;
	sConfig.IC1Selection = TIM_ICSELECTION_DIRECTTI;
	sConfig.IC1Prescaler = TIM_ICPSC_DIV1;
	sConfig.IC1Filter = 10;
	sConfig.IC2Polarity = TIM_ICPOLARITY_RISING;
	sConfig.IC2Selection = TIM_ICSELECTION_DIRECTTI;
	sConfig.IC2Prescaler = TIM_ICPSC_DIV1;
	sConfig.IC2Filter = 10;
	if (HAL_TIM_Encoder_Init(&htim5, &sConfig) != HAL_OK) {
		Error_Handler();
	}
	sMasterConfig.MasterOutputTrigger = TIM_TRGO_RESET;
	sMasterConfig.MasterSlaveMode = TIM_MASTERSLAVEMODE_DISABLE;
	if (HAL_TIMEx_MasterConfigSynchronization(&htim5, &sMasterConfig)
			!= HAL_OK) {
		Error_Handler();
	}

}

static void MX_TIM8_Init(void) {

	TIM_Encoder_InitTypeDef sConfig = { 0 };
	TIM_MasterConfigTypeDef sMasterConfig = { 0 };

	htim8.Instance = TIM8;
	htim8.Init.Prescaler = 0;
	htim8.Init.CounterMode = TIM_COUNTERMODE_UP;
	htim8.Init.Period = 65535;
	htim8.Init.ClockDivision = TIM_CLOCKDIVISION_DIV1;
	htim8.Init.RepetitionCounter = 0;
	htim8.Init.AutoReloadPreload = TIM_AUTORELOAD_PRELOAD_DISABLE;
	sConfig.EncoderMode = TIM_ENCODERMODE_TI12;
	sConfig.IC1Polarity = TIM_ICPOLARITY_RISING;
	sConfig.IC1Selection = TIM_ICSELECTION_DIRECTTI;
	sConfig.IC1Prescaler = TIM_ICPSC_DIV1;
	sConfig.IC1Filter = 10;
	sConfig.IC2Polarity = TIM_ICPOLARITY_RISING;
	sConfig.IC2Selection = TIM_ICSELECTION_DIRECTTI;
	sConfig.IC2Prescaler = TIM_ICPSC_DIV1;
	sConfig.IC2Filter = 10;
	if (HAL_TIM_Encoder_Init(&htim8, &sConfig) != HAL_OK) {
		Error_Handler();
	}
	sMasterConfig.MasterOutputTrigger = TIM_TRGO_RESET;
	sMasterConfig.MasterSlaveMode = TIM_MASTERSLAVEMODE_DISABLE;
	if (HAL_TIMEx_MasterConfigSynchronization(&htim8, &sMasterConfig)
			!= HAL_OK) {
		Error_Handler();
	}

}

static void MX_TIM10_Init(void) {

	TIM_OC_InitTypeDef sConfigOC = { 0 };

	htim10.Instance = TIM10;
	htim10.Init.Prescaler = 0;
	htim10.Init.CounterMode = TIM_COUNTERMODE_UP;
	htim10.Init.Period = 4095;
	htim10.Init.ClockDivision = TIM_CLOCKDIVISION_DIV1;
	htim10.Init.AutoReloadPreload = TIM_AUTORELOAD_PRELOAD_DISABLE;
	if (HAL_TIM_Base_Init(&htim10) != HAL_OK) {
		Error_Handler();
	}
	if (HAL_TIM_PWM_Init(&htim10) != HAL_OK) {
		Error_Handler();
	}
	sConfigOC.OCMode = TIM_OCMODE_PWM1;
	sConfigOC.Pulse = 2047;
	sConfigOC.OCPolarity = TIM_OCPOLARITY_HIGH;
	sConfigOC.OCFastMode = TIM_OCFAST_DISABLE;
	if (HAL_TIM_PWM_ConfigChannel(&htim10, &sConfigOC, TIM_CHANNEL_1)
			!= HAL_OK) {
		Error_Handler();
	}
	HAL_TIM_MspPostInit(&htim10);

}

static void MX_TIM11_Init(void) {

	TIM_OC_InitTypeDef sConfigOC = { 0 };

	htim11.Instance = TIM11;
	htim11.Init.Prescaler = 0;
	htim11.Init.CounterMode = TIM_COUNTERMODE_UP;
	htim11.Init.Period = 4095;
	htim11.Init.ClockDivision = TIM_CLOCKDIVISION_DIV1;
	htim11.Init.AutoReloadPreload = TIM_AUTORELOAD_PRELOAD_DISABLE;
	if (HAL_TIM_Base_Init(&htim11) != HAL_OK) {
		Error_Handler();
	}
	if (HAL_TIM_PWM_Init(&htim11) != HAL_OK) {
		Error_Handler();
	}
	sConfigOC.OCMode = TIM_OCMODE_PWM1;
	sConfigOC.Pulse = 2047;
	sConfigOC.OCPolarity = TIM_OCPOLARITY_HIGH;
	sConfigOC.OCFastMode = TIM_OCFAST_DISABLE;
	if (HAL_TIM_PWM_ConfigChannel(&htim11, &sConfigOC, TIM_CHANNEL_1)
			!= HAL_OK) {
		Error_Handler();
	}
	HAL_TIM_MspPostInit(&htim11);

}

static void MX_TIM12_Init(void) {

	TIM_OC_InitTypeDef sConfigOC = { 0 };

	htim12.Instance = TIM12;
	htim12.Init.Prescaler = 0;
	htim12.Init.CounterMode = TIM_COUNTERMODE_UP;
	htim12.Init.Period = 4095;
	htim12.Init.ClockDivision = TIM_CLOCKDIVISION_DIV1;
	htim12.Init.AutoReloadPreload = TIM_AUTORELOAD_PRELOAD_DISABLE;
	if (HAL_TIM_PWM_Init(&htim12) != HAL_OK) {
		Error_Handler();
	}
	sConfigOC.OCMode = TIM_OCMODE_PWM1;
	sConfigOC.Pulse = 2047;
	sConfigOC.OCPolarity = TIM_OCPOLARITY_HIGH;
	sConfigOC.OCFastMode = TIM_OCFAST_DISABLE;
	if (HAL_TIM_PWM_ConfigChannel(&htim12, &sConfigOC, TIM_CHANNEL_1)
			!= HAL_OK) {
		Error_Handler();
	}
	if (HAL_TIM_PWM_ConfigChannel(&htim12, &sConfigOC, TIM_CHANNEL_2)
			!= HAL_OK) {
		Error_Handler();
	}
	HAL_TIM_MspPostInit(&htim12);

}

static void MX_TIM13_Init(void) {

	TIM_OC_InitTypeDef sConfigOC = { 0 };

	htim13.Instance = TIM13;
	htim13.Init.Prescaler = 0;
	htim13.Init.CounterMode = TIM_COUNTERMODE_UP;
	htim13.Init.Period = 4095;
	htim13.Init.ClockDivision = TIM_CLOCKDIVISION_DIV1;
	htim13.Init.AutoReloadPreload = TIM_AUTORELOAD_PRELOAD_DISABLE;
	if (HAL_TIM_Base_Init(&htim13) != HAL_OK) {
		Error_Handler();
	}
	if (HAL_TIM_PWM_Init(&htim13) != HAL_OK) {
		Error_Handler();
	}
	sConfigOC.OCMode = TIM_OCMODE_PWM1;
	sConfigOC.Pulse = 2047;
	sConfigOC.OCPolarity = TIM_OCPOLARITY_HIGH;
	sConfigOC.OCFastMode = TIM_OCFAST_DISABLE;
	if (HAL_TIM_PWM_ConfigChannel(&htim13, &sConfigOC, TIM_CHANNEL_1)
			!= HAL_OK) {
		Error_Handler();
	}
	HAL_TIM_MspPostInit(&htim13);

}

static void MX_TIM14_Init(void) {

	TIM_OC_InitTypeDef sConfigOC = { 0 };

	htim14.Instance = TIM14;
	htim14.Init.Prescaler = 0;
	htim14.Init.CounterMode = TIM_COUNTERMODE_UP;
	htim14.Init.Period = 4095;
	htim14.Init.ClockDivision = TIM_CLOCKDIVISION_DIV1;
	htim14.Init.AutoReloadPreload = TIM_AUTORELOAD_PRELOAD_DISABLE;
	if (HAL_TIM_Base_Init(&htim14) != HAL_OK) {
		Error_Handler();
	}
	if (HAL_TIM_PWM_Init(&htim14) != HAL_OK) {
		Error_Handler();
	}
	sConfigOC.OCMode = TIM_OCMODE_PWM1;
	sConfigOC.Pulse = 2047;
	sConfigOC.OCPolarity = TIM_OCPOLARITY_HIGH;
	sConfigOC.OCFastMode = TIM_OCFAST_DISABLE;
	if (HAL_TIM_PWM_ConfigChannel(&htim14, &sConfigOC, TIM_CHANNEL_1)
			!= HAL_OK) {
		Error_Handler();
	}
	HAL_TIM_MspPostInit(&htim14);

}

static void MX_USART2_UART_Init(void) {

	huart2.Instance = USART2;
	huart2.Init.BaudRate = 9600;
	huart2.Init.WordLength = UART_WORDLENGTH_8B;
	huart2.Init.StopBits = UART_STOPBITS_1;
	huart2.Init.Parity = UART_PARITY_NONE;
	huart2.Init.Mode = UART_MODE_TX_RX;
	huart2.Init.HwFlowCtl = UART_HWCONTROL_NONE;
	huart2.Init.OverSampling = UART_OVERSAMPLING_16;
	if (HAL_UART_Init(&huart2) != HAL_OK) {
		Error_Handler();
	}

}

static void MX_DMA_Init(void) {

	/* DMA controller clock enable */
	__HAL_RCC_DMA2_CLK_ENABLE();
	__HAL_RCC_DMA1_CLK_ENABLE();

	/* DMA interrupt init */
	/* DMA1_Stream5_IRQn interrupt configuration */
	HAL_NVIC_SetPriority(DMA1_Stream5_IRQn, 0, 0);
	HAL_NVIC_EnableIRQ(DMA1_Stream5_IRQn);
	/* DMA1_Stream6_IRQn interrupt configuration */
	HAL_NVIC_SetPriority(DMA1_Stream6_IRQn, 0, 0);
	HAL_NVIC_EnableIRQ(DMA1_Stream6_IRQn);
	/* DMA2_Stream0_IRQn interrupt configuration */
	HAL_NVIC_SetPriority(DMA2_Stream0_IRQn, 0, 0);
	HAL_NVIC_EnableIRQ(DMA2_Stream0_IRQn);

}

static void MX_GPIO_Init(void) {
	GPIO_InitTypeDef GPIO_InitStruct = { 0 };

	/* GPIO Ports Clock Enable */
	__HAL_RCC_GPIOC_CLK_ENABLE();
	__HAL_RCC_GPIOH_CLK_ENABLE();
	__HAL_RCC_GPIOA_CLK_ENABLE();
	__HAL_RCC_GPIOB_CLK_ENABLE();
	__HAL_RCC_GPIOD_CLK_ENABLE();

	/*Configure GPIO pin Output Level */
	HAL_GPIO_WritePin(ENAB_GRIP_GPIO_Port, ENAB_GRIP_Pin, GPIO_PIN_RESET);

	/*Configure GPIO pin Output Level */
	HAL_GPIO_WritePin(GPIOA, SEGMENT_DATA_Pin | ENABLE_MOTOR_Pin,
			GPIO_PIN_RESET);

	/*Configure GPIO pin : ENAB_GRIP_Pin */
	GPIO_InitStruct.Pin = ENAB_GRIP_Pin;
	GPIO_InitStruct.Mode = GPIO_MODE_OUTPUT_PP;
	GPIO_InitStruct.Pull = GPIO_PULLUP;
	GPIO_InitStruct.Speed = GPIO_SPEED_FREQ_LOW;
	HAL_GPIO_Init(ENAB_GRIP_GPIO_Port, &GPIO_InitStruct);

	/*Configure GPIO pin : SW_5_Pin */
	GPIO_InitStruct.Pin = SW_5_Pin;
	GPIO_InitStruct.Mode = GPIO_MODE_INPUT;
	GPIO_InitStruct.Pull = GPIO_PULLUP;
	HAL_GPIO_Init(SW_5_GPIO_Port, &GPIO_InitStruct);

	/*Configure GPIO pin : SEGMENT_DATA_Pin */
	GPIO_InitStruct.Pin = SEGMENT_DATA_Pin;
	GPIO_InitStruct.Mode = GPIO_MODE_OUTPUT_PP;
	GPIO_InitStruct.Pull = GPIO_NOPULL;
	GPIO_InitStruct.Speed = GPIO_SPEED_FREQ_LOW;
	HAL_GPIO_Init(SEGMENT_DATA_GPIO_Port, &GPIO_InitStruct);

	/*Configure GPIO pins : SW_2_Pin SW_3_Pin SW_4_Pin */
	GPIO_InitStruct.Pin = SW_2_Pin | SW_3_Pin | SW_4_Pin;
	GPIO_InitStruct.Mode = GPIO_MODE_INPUT;
	GPIO_InitStruct.Pull = GPIO_PULLUP;
	HAL_GPIO_Init(GPIOB, &GPIO_InitStruct);

	/*Configure GPIO pins : LOAD_Pin SAVE_Pin */
	GPIO_InitStruct.Pin = LOAD_Pin | SAVE_Pin;
	GPIO_InitStruct.Mode = GPIO_MODE_INPUT;
	GPIO_InitStruct.Pull = GPIO_PULLDOWN;
	HAL_GPIO_Init(GPIOB, &GPIO_InitStruct);

	/*Configure GPIO pins : HOME_Pin START_STOP_CONTROL_Pin */
	GPIO_InitStruct.Pin = HOME_Pin | START_STOP_CONTROL_Pin;
	GPIO_InitStruct.Mode = GPIO_MODE_INPUT;
	GPIO_InitStruct.Pull = GPIO_PULLDOWN;
	HAL_GPIO_Init(GPIOC, &GPIO_InitStruct);

	/*Configure GPIO pin : ENABLE_MOTOR_Pin */
	GPIO_InitStruct.Pin = ENABLE_MOTOR_Pin;
	GPIO_InitStruct.Mode = GPIO_MODE_OUTPUT_PP;
	GPIO_InitStruct.Pull = GPIO_PULLUP;
	GPIO_InitStruct.Speed = GPIO_SPEED_FREQ_LOW;
	HAL_GPIO_Init(ENABLE_MOTOR_GPIO_Port, &GPIO_InitStruct);

	/*Configure GPIO pins : PITCH_DOWN_Pin PITCH_UP_Pin */
	GPIO_InitStruct.Pin = PITCH_DOWN_Pin | PITCH_UP_Pin;
	GPIO_InitStruct.Mode = GPIO_MODE_INPUT;
	GPIO_InitStruct.Pull = GPIO_PULLDOWN;
	HAL_GPIO_Init(GPIOA, &GPIO_InitStruct);

	/*Configure GPIO pin : SW_1_Pin */
	GPIO_InitStruct.Pin = SW_1_Pin;
	GPIO_InitStruct.Mode = GPIO_MODE_INPUT;
	GPIO_InitStruct.Pull = GPIO_PULLUP;
	HAL_GPIO_Init(SW_1_GPIO_Port, &GPIO_InitStruct);

	/*Configure GPIO pin : GRIP_OPEN_CLOSE_Pin */
	GPIO_InitStruct.Pin = GRIP_OPEN_CLOSE_Pin;
	GPIO_InitStruct.Mode = GPIO_MODE_INPUT;
	GPIO_InitStruct.Pull = GPIO_PULLDOWN;
	HAL_GPIO_Init(GRIP_OPEN_CLOSE_GPIO_Port, &GPIO_InitStruct);

}

/* USER CODE BEGIN 4 */

PUTCHAR_PROTOTYPE {
	HAL_UART_Transmit(&huart2, (uint8_t*) &ch, 1, 0xFFFF);
	return ch;
}

GETCHAR_PROTOTYPE {
	while (!(USART2->SR & (1 << 5))) {
	};
	return USART2->DR;
}

void HAL_UART_RxCpltCallback(UART_HandleTypeDef *huart) {

	uint8_t ord;
	uint16_t N;

// Check Interrupt & Clear It
	if (__HAL_UART_GET_FLAG(huart, UART_FLAG_IDLE)) {
		__HAL_UART_CLEAR_IDLEFLAG(&huart2);

		rxCnt++;
		start = rxBufPos;
		rxBufPos = RXBUFSIZE - (uint16_t) huart->hdmarx->Instance->NDTR;
		len = RXBUFSIZE;
		if (rxFilled < 2) {
			if (rxFilled) {
				if (rxBufPos <= start)
					len = rxBufPos + RXBUFSIZE - start;
				else
					len = RXBUFSIZE + 1;
			} else
				len = rxBufPos - start;
		} else
			len = RXBUFSIZE + 2;

		if (len < RXBUFSIZE) {
			for (uint16_t i = 0; i < RXBUFSIZE; i++)
				message[i] = 0;
			for (uint16_t i = 0; i < len; i++) {
				if (start + i >= RXBUFSIZE)
					message[i] = rxBuf[start + i - RXBUFSIZE];
				else
					message[i] = rxBuf[start + i];
			}
			printf("%s%s\r\n", "Order Received is:", message);
		} else
			printf("%s\r\n", "ERROR!!!\r\nReceived Command Is Too Long.");
		rxFilled = 0;
	} else
		rxFilled++;
	if (mode % 2 == 0) {
		ord = checkOrder(message);
		if (ord < N_ORDERS && eol(message) == 0) {
			/*AT+MOVE*/
			if (ord == 0) {
				if (checkMoveSyntax(message) == 0)
					printf("%s\r\n", "Order Received!!!");
				splitStr(orderNums, message);
				for (int i = 0; i < 5; i++) {
					position[i] = orderNums[i];

				}

			} else if (ord > 0 && ord < 5) {
				if (checkOneNumSyntax(message) == 0) {
					N = getNum(message);
					if (N >= 0 && N <= 100) {
						printf("%s\r\n", "Order Received!!!");
						switch (ord) {
						/*AT+VELO*/
						case 1:
							dmax = N;
							setSpeed(velo, dmax);
							break;
							/*AT+LOAD*/
						case 2:
							load(position, N, 5);
							break;
							/*AT+SAVE*/
						case 3:
							if (N == 0)
								printf("%s\r\n",
										"This Is Home Position.\r\nYou Are Not Allowed Modify It");
							else
								save(position, N);
							break;
						case 4:
							printList(N);
							break;
						default:
							break;
						}
					} else {
						printf("%s\r\n", "ERROR!!!\r\nNumber Out Of Range.");
						printf("%s\r\n", "Insert Values Between 0 - 100.");
					}
				} else if (checkOneNumSyntax(message) != 0)
					printf("%s\r\n", "SYNTAX ERROR!!!");

			} else if (ord > 4 && ord < 14) {
				switch (ord) {
				case 5:
					clearFlash();
					break;
				case 6:
					printf("%s\r\n", "Rebooting Microcontroller. Please Wait");
					for (uint32_t i = 0; i < 7500000; i++)
						asm("NOP");
					HAL_NVIC_SystemReset();
					break;
				case 7:
					mode = controlMode(mode);
					break;
				case 8:
					showEnco(enco);
					break;
				case 9:
					homeON = 0;
					setSpeed(velo, 65);
					break;
				case 10:
					openGrip(&htim14, GPIOC, GPIO_PIN_13);
					break;
				case 11:
					closeGrip(&htim14, GPIOC, GPIO_PIN_13);
					break;
				case 12:
					startRobot(GPIOA, GPIO_PIN_10);
					break;
				case 13:
					stopRobot(GPIOA, GPIO_PIN_10);
					break;
				default:
					break;
				}
			}
		} else {
			if (eol(message) != 0)
				printf("%s\r\n", "ERROR!!!\r\nThere Is No End Of Line.");
			else if (checkOrder(message) >= N_ORDERS)
				printf("%s\r\n", "ERROR!!!\r\nThe Order Does Not Exist.");
			else if (checkSyntax(message) != 0)
				printf("%s\r\n", "SYNTAX ERROR!!!");
		}
	} else if (strncmp(message, "AT+CNTL", 7) == 0)
		mode = controlMode(mode);
	else
		printf("%s\r\n", "Terminal Mode Is Disabled!!!");
}

void HAL_UART_TxCpltCallback(UART_HandleTypeDef *huart) {
}

/* USER CODE END 4 */

void Error_Handler(void) {
	__disable_irq();
	while (1) {
	}
}

/************************ (C) COPYRIGHT STMicroelectronics *****END OF FILE****/
